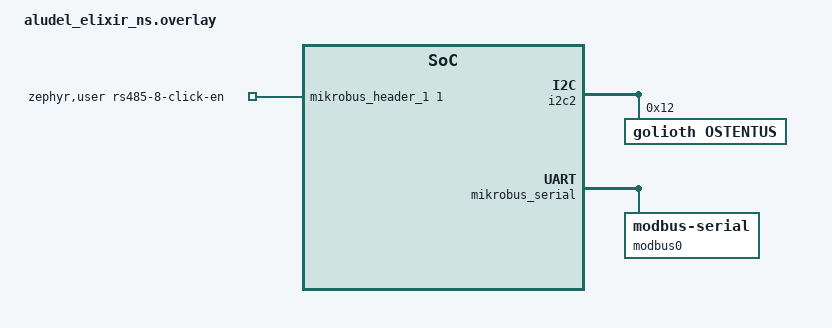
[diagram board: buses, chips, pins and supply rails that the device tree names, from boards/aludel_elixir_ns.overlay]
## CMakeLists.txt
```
# Copyright (c) 2022-2024 Golioth, Inc.
# SPDX-License-Identifier: Apache-2.0

cmake_minimum_required(VERSION 3.20.0)

if((BOARD STREQUAL nrf9160dk_nrf9160) OR (BOARD STREQUAL nrf9160dk_nrf9160_ns))
  set(SHIELD "arduino_uno_click")
endif()

find_package(Zephyr REQUIRED HINTS $ENV{ZEPHYR_BASE})

project(modbus_vibration_monitor)

target_sources(app PRIVATE src/main.c)
target_sources(app PRIVATE src/app_rpc.c)
target_sources(app PRIVATE src/app_settings.c)
target_sources(app PRIVATE src/app_state.c)
target_sources(app PRIVATE src/app_sensors.c)
target_sources(app PRIVATE src/qm30vt2.c)
```

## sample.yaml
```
# Copyright (c) 2022-2024 Golioth, Inc.
# SPDX-License-Identifier: Apache-2.0

sample:
  description: Golioth Reference Design - Modbus Vibration Monitor
  name: modbus_vibration_monitor
common:
  harness: net
  platform_allow: >
    nrf9160dk_nrf9160_ns
  tags: golioth
```

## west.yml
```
# Copyright (c) 2022-2024 Golioth, Inc.
# SPDX-License-Identifier: Apache-2.0

manifest:
  version: 1.0

  projects:
    - name: golioth
      path: modules/lib/golioth-firmware-sdk
      revision: v0.21.0
      url: https://github.com/golioth/golioth-firmware-sdk.git
      west-commands: scripts/west-commands.yml
      submodules: true
      import:
        file: west-ncs.yml
        path-prefix: deps
        name-allowlist:
          - nrf
          - zephyr
          - cmsis_6
          - hal_nordic
          - mbedtls
          - mbedtls-nrf
          - mcuboot
          - net-tools
          - nrfxlib
          - oberon-psa-crypto
          - qcbor
          - segger
          - tfm-mcuboot
          - tinycrypt
          - trusted-firmware-m
          - zcbor

    - name: golioth-zephyr-boards
      path: deps/modules/lib/golioth-boards
      revision: v2.1.1
      url: https://github.com/golioth/golioth-zephyr-boards

    - name: libostentus
      path: deps/modules/lib/libostentus
      revision: v2.0.0
      url: https://github.com/golioth/libostentus

    - name: zephyr-network-info
      path: deps/modules/lib/network-info
      revision: v1.2.0
      url: https://github.com/golioth/zephyr-network-info

    - name: golioth-battery-monitor
      path: deps/modules/lib/battery-monitor
      revision: v1.1.0
      url: https://github.com/golioth/battery-monitor

  self:
    path: app
```

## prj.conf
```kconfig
# Copyright (c) 2022-2024 Golioth, Inc.
# SPDX-License-Identifier: Apache-2.0

# Enable Golioth Firmware SDK
CONFIG_GOLIOTH_FIRMWARE_SDK=y

# Golioth services used in this app
CONFIG_GOLIOTH_FW_UPDATE=y
CONFIG_GOLIOTH_LIGHTDB_STATE=y
CONFIG_LOG_BACKEND_GOLIOTH=y
CONFIG_GOLIOTH_RPC=y
CONFIG_GOLIOTH_SETTINGS=y
CONFIG_GOLIOTH_STREAM=y

# Enable common sample library
CONFIG_GOLIOTH_SAMPLE_COMMON=y

# Configure Golioth SDK dependencies
CONFIG_ZVFS_EVENTFD_MAX=14
CONFIG_ZVFS_OPEN_MAX=23
CONFIG_LOG_PROCESS_THREAD_STACK_SIZE=1536
CONFIG_MBEDTLS_ENABLE_HEAP=y
CONFIG_MBEDTLS_HEAP_SIZE=10240
CONFIG_NETWORKING=y
CONFIG_NET_IPV4=y
CONFIG_COAP_EXTENDED_OPTIONS_LEN=y
CONFIG_COAP_EXTENDED_OPTIONS_LEN_VALUE=39

# Application
CONFIG_MAIN_STACK_SIZE=4096
CONFIG_SYSTEM_WORKQUEUE_STACK_SIZE=2048
CONFIG_NET_LOG=y
CONFIG_NET_SHELL=y
CONFIG_REBOOT=y

# Flash memory (etc.) for firmware upgrade
CONFIG_FLASH=y
CONFIG_FLASH_MAP=y
CONFIG_NVS=y
CONFIG_STREAM_FLASH=y
CONFIG_IMG_MANAGER=y
CONFIG_IMG_ERASE_PROGRESSIVELY=y
CONFIG_REBOOT=y

# The rest of the runtime credentials config
CONFIG_SETTINGS=y
CONFIG_SETTINGS_RUNTIME=y
CONFIG_GOLIOTH_SAMPLE_SETTINGS_AUTOLOAD=y
CONFIG_GOLIOTH_SAMPLE_SETTINGS_SHELL=y

# Misc.
CONFIG_JSON_LIBRARY=y

# Longer response length needed for network info
CONFIG_GOLIOTH_RPC_MAX_RESPONSE_LEN=512
CONFIG_I2C=y

CONFIG_SERIAL=y
CONFIG_UART_INTERRUPT_DRIVEN=y
CONFIG_UART_LINE_CTRL=n

CONFIG_MODBUS=y
CONFIG_MODBUS_ROLE_CLIENT=y
CONFIG_MODBUS_FP_EXTENSIONS=n

CONFIG_LOG_BUFFER_SIZE=2048
```

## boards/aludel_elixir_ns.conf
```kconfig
# Copyright (c) 2024 Golioth, Inc.
# SPDX-License-Identifier: Apache-2.0

# General config
CONFIG_ALUDEL_BATTERY_MONITOR=y

# Turn on regulator to power click headers
CONFIG_REGULATOR=y

# Use a unique package name to use with Packages/Cohorts/Deployments
CONFIG_GOLIOTH_FW_UPDATE_PACKAGE_NAME="aludel_elixir"
```

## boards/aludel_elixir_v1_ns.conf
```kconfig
# Copyright (c) 2024 Golioth, Inc.
# SPDX-License-Identifier: Apache-2.0

# General config
CONFIG_HEAP_MEM_POOL_SIZE=4096
CONFIG_NEWLIB_LIBC=y
CONFIG_CBPRINTF_FP_SUPPORT=y

# Networking
CONFIG_NET_SOCKETS_OFFLOAD=y
CONFIG_NET_IPV6=y
CONFIG_NET_IPV6_NBR_CACHE=n
CONFIG_NET_IPV6_MLD=n

# Increase native TLS socket implementation, so that it is chosen instead of
# offloaded nRF91 sockets
CONFIG_NET_SOCKETS_TLS_PRIORITY=35

# Modem library
CONFIG_NRF_MODEM_LIB=y
CONFIG_NRF_MODEM_LIB_ON_FAULT_APPLICATION_SPECIFIC=y

# LTE connectivity with network connection manager
CONFIG_LTE_CONNECTIVITY=y
CONFIG_NET_CONNECTION_MANAGER=y
CONFIG_NET_CONNECTION_MANAGER_MONITOR_STACK_SIZE=1024

# Increased sysworkq size, due to LTE connectivity
CONFIG_SYSTEM_WORKQUEUE_STACK_SIZE=2048

# Disable options y-selected by NCS for no good reason
CONFIG_MBEDTLS_KEY_EXCHANGE_DHE_PSK_ENABLED=n
CONFIG_MBEDTLS_KEY_EXCHANGE_DHE_RSA_ENABLED=n

# Add Network Info Support
CONFIG_MODEM_INFO=y
CONFIG_GOLIOTH_RPC_MAX_RESPONSE_LEN=512

# Generate MCUboot compatible images
CONFIG_BOOTLOADER_MCUBOOT=y

# Use Golioth Ostentus Faceplate
CONFIG_LIB_OSTENTUS=y
```

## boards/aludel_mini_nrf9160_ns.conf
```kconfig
# Copyright (c) 2023-2024 Golioth, Inc.
# SPDX-License-Identifier: Apache-2.0

# General config
CONFIG_HEAP_MEM_POOL_SIZE=4096
CONFIG_NEWLIB_LIBC=y
CONFIG_CBPRINTF_FP_SUPPORT=y

# Networking
CONFIG_NET_SOCKETS_OFFLOAD=y
CONFIG_NET_IPV6=y
CONFIG_NET_IPV6_NBR_CACHE=n
CONFIG_NET_IPV6_MLD=n

# Increase native TLS socket implementation, so that it is chosen instead of
# offloaded nRF91 sockets
CONFIG_NET_SOCKETS_TLS_PRIORITY=35

# Modem library
CONFIG_NRF_MODEM_LIB=y

# LTE connectivity with network connection manager
CONFIG_NRF_MODEM_LIB_NET_IF=y
CONFIG_NRF_MODEM_LIB_NET_IF_AUTO_START=y
CONFIG_NRF_MODEM_LIB_NET_IF_AUTO_CONNECT=n
CONFIG_NET_CONNECTION_MANAGER=y
CONFIG_NET_CONNECTION_MANAGER_MONITOR_STACK_SIZE=1024

# Add Logs for LTE Link Handler
CONFIG_GOLIOTH_SAMPLE_NRF91_LTE_MONITOR=y

# Disable options y-selected by NCS for no good reason
CONFIG_MBEDTLS_KEY_EXCHANGE_DHE_PSK_ENABLED=n
CONFIG_MBEDTLS_KEY_EXCHANGE_DHE_RSA_ENABLED=n

# MbedTLS configuration to support p-384 curve. These options
# enable using the MbedTLS built-in support for operations not
# supported by the default nRF Oberon crypto backend
CONFIG_NORDIC_SECURITY_BACKEND=n
CONFIG_MBEDTLS_LEGACY_CRYPTO_C=y

# Battery Support
CONFIG_ALUDEL_BATTERY_MONITOR=y

# Add Network Info Support
CONFIG_MODEM_INFO=y

# Generate MCUboot compatible images
CONFIG_BOOTLOADER_MCUBOOT=y
```

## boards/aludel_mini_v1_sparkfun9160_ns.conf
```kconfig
# Copyright (c) 2023-2024 Golioth, Inc.
# SPDX-License-Identifier: Apache-2.0

# General config
CONFIG_HEAP_MEM_POOL_SIZE=4096
CONFIG_NEWLIB_LIBC=y
CONFIG_CBPRINTF_FP_SUPPORT=y

# Networking
CONFIG_NET_SOCKETS_OFFLOAD=y
CONFIG_NET_IPV6=y
CONFIG_NET_IPV6_NBR_CACHE=n
CONFIG_NET_IPV6_MLD=n

# Increase native TLS socket implementation, so that it is chosen instead of
# offloaded nRF91 sockets
CONFIG_NET_SOCKETS_TLS_PRIORITY=35

# Modem library
CONFIG_NRF_MODEM_LIB=y
CONFIG_NRF_MODEM_LIB_ON_FAULT_APPLICATION_SPECIFIC=y

# LTE connectivity with network connection manager
CONFIG_LTE_CONNECTIVITY=y
CONFIG_LTE_CONNECTIVITY_AUTO_CONNECT=n
CONFIG_NET_CONNECTION_MANAGER=y
CONFIG_NET_CONNECTION_MANAGER_MONITOR_STACK_SIZE=1024

# Add Logs for LTE Link Handler
CONFIG_GOLIOTH_SAMPLE_NRF91_LTE_MONITOR=y

# Disable options y-selected by NCS for no good reason
CONFIG_MBEDTLS_KEY_EXCHANGE_DHE_PSK_ENABLED=n
CONFIG_MBEDTLS_KEY_EXCHANGE_DHE_RSA_ENABLED=n

# Battery Support
CONFIG_ALUDEL_BATTERY_MONITOR=y

# Add Network Info Support
CONFIG_MODEM_INFO=y

# Generate MCUboot compatible images
CONFIG_BOOTLOADER_MCUBOOT=y

# Use Golioth Ostentus Faceplate
CONFIG_LIB_OSTENTUS=y
```

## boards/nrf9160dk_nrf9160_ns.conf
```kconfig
# Copyright (c) 2023-2024 Golioth, Inc.
# SPDX-License-Identifier: Apache-2.0

# General config
CONFIG_HEAP_MEM_POOL_SIZE=4096
CONFIG_NEWLIB_LIBC=y
CONFIG_CBPRINTF_FP_SUPPORT=y

# Networking
CONFIG_NET_SOCKETS_OFFLOAD=y
CONFIG_NET_IPV6=y
CONFIG_NET_IPV6_NBR_CACHE=n
CONFIG_NET_IPV6_MLD=n

# Increase native TLS socket implementation, so that it is chosen instead of
# offloaded nRF91 sockets
CONFIG_NET_SOCKETS_TLS_PRIORITY=35

# Modem library
CONFIG_NRF_MODEM_LIB=y

# LTE connectivity with network connection manager
CONFIG_NRF_MODEM_LIB_NET_IF=y
CONFIG_NRF_MODEM_LIB_NET_IF_AUTO_START=y
CONFIG_NRF_MODEM_LIB_NET_IF_AUTO_CONNECT=n
CONFIG_NET_CONNECTION_MANAGER=y
CONFIG_NET_CONNECTION_MANAGER_MONITOR_STACK_SIZE=1024

# Add Logs for LTE Link Handler
CONFIG_GOLIOTH_SAMPLE_NRF91_LTE_MONITOR=y

# Disable options y-selected by NCS for no good reason
CONFIG_MBEDTLS_KEY_EXCHANGE_DHE_PSK_ENABLED=n
CONFIG_MBEDTLS_KEY_EXCHANGE_DHE_RSA_ENABLED=n

# MbedTLS configuration to support p-384 curve. These options
# enable using the MbedTLS built-in support for operations not
# supported by the default nRF Oberon crypto backend
CONFIG_NORDIC_SECURITY_BACKEND=n
CONFIG_MBEDTLS_LEGACY_CRYPTO_C=y

# Add Network Info Support
CONFIG_MODEM_INFO=y

# Generate MCUboot compatible images
CONFIG_BOOTLOADER_MCUBOOT=y
```

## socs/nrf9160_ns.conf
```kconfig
# General config
CONFIG_HEAP_MEM_POOL_SIZE=4096
CONFIG_NEWLIB_LIBC=y
CONFIG_CBPRINTF_FP_SUPPORT=y

# Networking
CONFIG_NET_SOCKETS_OFFLOAD=y
CONFIG_NET_IPV6=y
CONFIG_NET_IPV6_NBR_CACHE=n
CONFIG_NET_IPV6_MLD=n

# Increase native TLS socket implementation, so that it is chosen instead of
# offloaded nRF91 sockets
CONFIG_NET_SOCKETS_TLS_PRIORITY=35

# Modem library
CONFIG_NRF_MODEM_LIB=y

# LTE connectivity with network connection manager
CONFIG_NRF_MODEM_LIB_NET_IF=y
CONFIG_NRF_MODEM_LIB_NET_IF_AUTO_START=y
CONFIG_NRF_MODEM_LIB_NET_IF_AUTO_CONNECT=n
CONFIG_NET_CONNECTION_MANAGER=y
CONFIG_NET_CONNECTION_MANAGER_MONITOR_STACK_SIZE=1024

# Increased sysworkq size, due to LTE connectivity
CONFIG_SYSTEM_WORKQUEUE_STACK_SIZE=2048

# Disable options y-selected by NCS for no good reason
CONFIG_MBEDTLS_KEY_EXCHANGE_DHE_PSK_ENABLED=n
CONFIG_MBEDTLS_KEY_EXCHANGE_DHE_RSA_ENABLED=n
CONFIG_MBEDTLS_PK_PARSE_EC_EXTENDED=n

# MbedTLS configuration to support p-384 curve. These options
# enable using the MbedTLS built-in support for operations not
# supported by the default nRF Oberon crypto backend
CONFIG_NORDIC_SECURITY_BACKEND=n
CONFIG_MBEDTLS_LEGACY_CRYPTO_C=y

# Configure Golioth SDK dependencies (for NCS)
CONFIG_MBEDTLS_SSL_IN_CONTENT_LEN=2048
CONFIG_MBEDTLS_SSL_OUT_CONTENT_LEN=2048

# Generate MCUboot compatible images
CONFIG_BOOTLOADER_MCUBOOT=y

# Add Network Info Support
CONFIG_NETWORK_INFO=y
CONFIG_MODEM_INFO=y
```

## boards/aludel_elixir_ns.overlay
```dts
/*
 * Copyright (c) 2024 Golioth, Inc.
 *
 * SPDX-License-Identifier: Apache-2.0
 */

/ {
	zephyr,user {
		rs485-8-click-en-gpios = <&mikrobus_header_1 1 GPIO_ACTIVE_HIGH>;
	};
};

&i2c2 {
    status = "okay";

    /* Needed for I2C writes used by libostentus */
    zephyr,concat-buf-size = <48>;

    ostentus@12 {
        status = "okay";
        compatible = "golioth,ostentus";
        reg = <0x12>;
    };
};

&mikrobus_serial {
	status = "okay";

	modbus0 {
		compatible = "zephyr,modbus-serial";
		status = "okay";
	};
};
```

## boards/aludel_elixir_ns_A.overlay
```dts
/*
 * Copyright (c) 2024 Golioth, Inc.
 *
 * SPDX-License-Identifier: Apache-2.0
 */

&mikrobus_serial {
	status = "okay";

	modbus0 {
		compatible = "zephyr,modbus-serial";
		status = "okay";
	};
};
```

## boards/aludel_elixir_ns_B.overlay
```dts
/*
 * Copyright (c) 2024 Golioth, Inc.
 *
 * SPDX-License-Identifier: Apache-2.0
 */

/ {
	zephyr,user {
		rs485-8-click-en-gpios = <&mikrobus_header_1 1 GPIO_ACTIVE_HIGH>;
	};
};

&mikrobus_serial {
	status = "okay";

	modbus0 {
		compatible = "zephyr,modbus-serial";
		status = "okay";
	};
};

&qwiic_i2c {
	status = "okay";
};
```

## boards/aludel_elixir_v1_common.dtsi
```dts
/*
 * Copyright (c) 2023 Golioth, Inc.
 *
 * SPDX-License-Identifier: Apache-2.0
 */

#include "app_common.dtsi"

&quiic_i2c {
	status = "okay";
};
```

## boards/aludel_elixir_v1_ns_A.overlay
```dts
/*
 * Copyright (c) 2023 Golioth, Inc.
 *
 * SPDX-License-Identifier: Apache-2.0
 */

#include "aludel_elixir_v1_common.dtsi"

/* RS-485 8 Click boards have their EN signal connected to the RST signal on the
 * mikroBUS headers. However, Elixir v1 Rev A boards do not have SW (GPIO)
 * control of the RST pins on the mikroBUS headers. To ensure the EN pin is
 * pulled HIGH (enabled) for this app, a 10 KΩ resistor must be soldered onto
 * the Click board between the EN pin and the 3.3V pin.
 *
 * Since the EN pin is not used for this board rev, we need to delete the unused
 * node from the shared app_common.dtsi overlay used by all other boards.
 */
/ {
	zephyr,user {
		/delete-property/ rs485-8-click-en-gpios;
	};
};
```

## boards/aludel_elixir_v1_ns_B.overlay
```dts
/*
 * Copyright (c) 2023 Golioth, Inc.
 *
 * SPDX-License-Identifier: Apache-2.0
 */

#include "aludel_elixir_v1_common.dtsi"
```

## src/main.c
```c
/*
 * Copyright (c) 2022-2024 Golioth, Inc.
 *
 * SPDX-License-Identifier: Apache-2.0
 */

#include <zephyr/logging/log.h>
#include <zephyr/logging/log_ctrl.h>
LOG_MODULE_REGISTER(golioth_modbus_vibration_monitor, LOG_LEVEL_DBG);

#include <app_version.h>
#include "app_rpc.h"
#include "app_settings.h"
#include "app_state.h"
#include "app_sensors.h"
#include <golioth/client.h>
#include <golioth/fw_update.h>
#include <samples/common/net_connect.h>
#include <samples/common/sample_credentials.h>
#include <zephyr/kernel.h>

#ifdef CONFIG_SOC_SERIES_NRF91X
#include <modem/lte_lc.h>
#endif
#ifdef CONFIG_LIB_OSTENTUS
#include <libostentus.h>
#include <libostentus_regmap.h>
static const struct device *o_dev = DEVICE_DT_GET_ANY(golioth_ostentus);
#endif
#ifdef CONFIG_ALUDEL_BATTERY_MONITOR
#include <battery_monitor.h>
#endif

#include <zephyr/drivers/gpio.h>

#ifdef CONFIG_MODEM_INFO
#include <modem/modem_info.h>
#endif

/* Current firmware version; update in VERSION */
static const char *_current_version =
	STRINGIFY(APP_VERSION_MAJOR) "." STRINGIFY(APP_VERSION_MINOR) "." STRINGIFY(APP_PATCHLEVEL);

static struct golioth_client *client;
K_SEM_DEFINE(connected, 0, 1);

static k_tid_t _system_thread = 0;

#if DT_NODE_EXISTS(DT_ALIAS(golioth_led))
static const struct gpio_dt_spec golioth_led = GPIO_DT_SPEC_GET(DT_ALIAS(golioth_led), gpios);
#endif /* DT_NODE_EXISTS(DT_ALIAS(golioth_led)) */
static const struct gpio_dt_spec user_btn = GPIO_DT_SPEC_GET(DT_ALIAS(sw1), gpios);
static struct gpio_callback button_cb_data;

/* forward declarations */
void golioth_connection_led_set(uint8_t state);

void wake_system_thread(void)
{
	k_wakeup(_system_thread);
}

static void on_client_event(struct golioth_client *client, enum golioth_client_event event,
			    void *arg)
{
	bool is_connected = (event == GOLIOTH_CLIENT_EVENT_CONNECTED);

	if (is_connected) {
		k_sem_give(&connected);
		golioth_connection_led_set(1);
	}
	LOG_INF("Golioth client %s", is_connected ? "connected" : "disconnected");
}

static void start_golioth_client(void)
{
	/* Get the client configuration from auto-loaded settings */
	const struct golioth_client_config *client_config = golioth_sample_credentials_get();

	/* Create and start a Golioth Client */
	client = golioth_client_create(client_config);

	/* Register Golioth on_connect callback */
	golioth_client_register_event_callback(client, on_client_event, NULL);

	/* Initialize DFU components */
	golioth_fw_update_init(client, _current_version);

	/*** Call Golioth APIs for other services in dedicated app files ***/

	/* Observe State service data */
	app_state_observe(client);

	/* Set Golioth Client for streaming sensor data */
	app_sensors_set_client(client);

	/* Register Settings service */
	app_settings_register(client);

	/* Register RPC service */
	app_rpc_register(client);
}

#ifdef CONFIG_SOC_SERIES_NRF91X

static void lte_handler(const struct lte_lc_evt *const evt)
{
	if (evt->type == LTE_LC_EVT_NW_REG_STATUS) {

		if ((evt->nw_reg_status == LTE_LC_NW_REG_REGISTERED_HOME) ||
		    (evt->nw_reg_status == LTE_LC_NW_REG_REGISTERED_ROAMING)) {

			/* Change the state of the Internet LED on Ostentus */
			IF_ENABLED(CONFIG_LIB_OSTENTUS, (ostentus_led_internet_set(o_dev, 1);));

			if (!client) {
				/* Create and start a Golioth Client */
				start_golioth_client();
			}
		}
	}
}

#endif /* CONFIG_SOC_SERIES_NRF91X */

#ifdef CONFIG_MODEM_INFO
static void log_modem_firmware_version(void)
{
	char sbuf[128];

	/* Initialize modem info */
	int err = modem_info_init();

	if (err) {
		LOG_ERR("Failed to initialize modem info: %d", err);
	}

	/* Log modem firmware version */
	modem_info_string_get(MODEM_INFO_FW_VERSION, sbuf, sizeof(sbuf));
	LOG_INF("Modem firmware version: %s", sbuf);
}
#endif

void button_pressed(const struct device *dev, struct gpio_callback *cb, uint32_t pins)
{
	LOG_DBG("Button pressed at %d", k_cycle_get_32());
	/* This function is an Interrupt Service Routine. Do not call functions that
	 * use other threads, or perform long-running operations here
	 */
	k_wakeup(_system_thread);
}

/* Set (unset) LED indicators for active Golioth connection */
void golioth_connection_led_set(uint8_t state)
{
	uint8_t pin_state = state ? 1 : 0;
	ARG_UNUSED(pin_state); /* silence warning if no LED/Ostentus present */

	/* Turn on Golioth logo LED once connected */
	IF_ENABLED(DT_NODE_EXISTS(DT_ALIAS(golioth_led)),
		(gpio_pin_set_dt(&golioth_led, pin_state);));

	/* Change the state of the Golioth LED on Ostentus */
	IF_ENABLED(CONFIG_LIB_OSTENTUS, (ostentus_led_golioth_set(o_dev, pin_state);));
}

int main(void)
{
	int err;

	/* Workaround for https://github.com/golioth/golioth-firmware-sdk/issues/413 */
	log_filter_set(NULL, 0, log_source_id_get("golioth_coap_client_zephyr"), LOG_LEVEL_ERR);

	LOG_DBG("Started Modbus Vibration Monitor app");

	LOG_INF("Firmware version: %s", _current_version);
	IF_ENABLED(CONFIG_MODEM_INFO, (log_modem_firmware_version();));

	IF_ENABLED(CONFIG_LIB_OSTENTUS, (
		/* Reset Ostentus and pause for reboot */
		ostentus_reset(o_dev);
		k_msleep(300);

		/* Read firmware version from faceplate */
		char *o_version = (char *)calloc(32, sizeof(char));

		ostentus_version_get(o_dev, o_version, 32);
		LOG_INF("Ostentus reports firmware version: %s", o_version);
		free(o_version);

		/* Update Ostentus LEDS using bitmask (Power On and Battery) */
		ostentus_led_bitmask(o_dev, LED_POW | LED_BAT);

		/* Show Golioth Logo on Ostentus ePaper screen */
		ostentus_show_splash(o_dev);
	));

	/* Get system thread id so loop delay change event can wake main */
	_system_thread = k_current_get();

	/* Initialize sensors */
	app_sensors_init();

#if DT_NODE_EXISTS(DT_ALIAS(golioth_led))
	/* Initialize Golioth logo LED */
	err = gpio_pin_configure_dt(&golioth_led, GPIO_OUTPUT_INACTIVE);
	if (err) {
		LOG_ERR("Unable to configure LED for Golioth Logo");
	}
#endif /* #if DT_NODE_EXISTS(DT_ALIAS(golioth_led)) */

#ifdef CONFIG_SOC_SERIES_NRF91X
	/* Start LTE asynchronously if the nRF9160 is used.
	 * Golioth Client will start automatically when LTE connects
	 */

	LOG_INF("Connecting to LTE, this may take some time...");
	lte_lc_connect_async(lte_handler);

#else
	/* If nRF9160 is not used, start the Golioth Client and block until connected */

	/* Run WiFi/DHCP if necessary */
	if (IS_ENABLED(CONFIG_GOLIOTH_SAMPLE_COMMON)) {
		net_connect();
	}

	/* Start Golioth client */
	start_golioth_client();

	/* Block until connected to Golioth */
	k_sem_take(&connected, K_FOREVER);
#endif /* CONFIG_SOC_SERIES_NRF91X */

	/* Set up user button */
	err = gpio_pin_configure_dt(&user_btn, GPIO_INPUT);
	if (err) {
		LOG_ERR("Error %d: failed to configure %s pin %d", err, user_btn.port->name,
			user_btn.pin);
		return err;
	}

	err = gpio_pin_interrupt_configure_dt(&user_btn, GPIO_INT_EDGE_TO_ACTIVE);
	if (err) {
		LOG_ERR("Error %d: failed to configure interrupt on %s pin %d", err,
			user_btn.port->name, user_btn.pin);
		return err;
	}

	gpio_init_callback(&button_cb_data, button_pressed, BIT(user_btn.pin));
	gpio_add_callback(user_btn.port, &button_cb_data);

	IF_ENABLED(CONFIG_LIB_OSTENTUS,(
		/* Set up a slideshow on Ostentus
		 *  - add up to 256 slides
		 *  - use the enum in app_sensors.h to add new keys
		 *  - values are updated using these keys (see app_sensors.c)
		 */
		ostentus_slide_add(o_dev, TEMP_F, LABEL_TEMP, strlen(LABEL_TEMP));
		ostentus_slide_add(o_dev, TEMP_C, LABEL_TEMP, strlen(LABEL_TEMP));
		ostentus_slide_add(o_dev, Z_VEL_RMS_IN, LABEL_Z_VEL_RMS, strlen(LABEL_Z_VEL_RMS));
		ostentus_slide_add(o_dev, Z_VEL_RMS_MM, LABEL_Z_VEL_RMS, strlen(LABEL_Z_VEL_RMS));
		ostentus_slide_add(o_dev, X_VEL_RMS_IN, LABEL_X_VEL_RMS, strlen(LABEL_X_VEL_RMS));
		ostentus_slide_add(o_dev, X_VEL_RMS_MM, LABEL_X_VEL_RMS, strlen(LABEL_X_VEL_RMS));
		ostentus_slide_add(o_dev, Z_ACC_PEAK, LABEL_Z_ACC_PEAK, strlen(LABEL_Z_ACC_PEAK));
		ostentus_slide_add(o_dev, X_ACC_PEAK, LABEL_X_ACC_PEAK, strlen(LABEL_X_ACC_PEAK));
		ostentus_slide_add(o_dev, Z_VEL_FREQ, LABEL_Z_VEL_FREQ, strlen(LABEL_Z_VEL_FREQ));
		ostentus_slide_add(o_dev, X_VEL_FREQ, LABEL_X_VEL_FREQ, strlen(LABEL_X_VEL_FREQ));
		ostentus_slide_add(o_dev, Z_ACC_RMS, LABEL_Z_ACC_RMS, strlen(LABEL_Z_ACC_RMS));
		ostentus_slide_add(o_dev, X_ACC_RMS, LABEL_X_ACC_RMS, strlen(LABEL_X_ACC_RMS));
		ostentus_slide_add(o_dev, Z_ACC_KURT, LABEL_Z_ACC_KURT, strlen(LABEL_Z_ACC_KURT));
		ostentus_slide_add(o_dev, X_ACC_KURT, LABEL_X_ACC_KURT, strlen(LABEL_X_ACC_KURT));
		ostentus_slide_add(o_dev, Z_ACC_CF, LABEL_Z_ACC_CF, strlen(LABEL_Z_ACC_CF));
		ostentus_slide_add(o_dev, X_ACC_CF, LABEL_X_ACC_CF, strlen(LABEL_X_ACC_CF));
		ostentus_slide_add(o_dev, Z_VEL_PEAK_IN, LABEL_Z_VEL_PEAK, strlen(LABEL_Z_VEL_PEAK));
		ostentus_slide_add(o_dev, Z_VEL_PEAK_MM, LABEL_Z_VEL_PEAK, strlen(LABEL_Z_VEL_PEAK));
		ostentus_slide_add(o_dev, X_VEL_PEAK_IN, LABEL_X_VEL_PEAK, strlen(LABEL_X_VEL_PEAK));
		ostentus_slide_add(o_dev, X_VEL_PEAK_MM, LABEL_X_VEL_PEAK, strlen(LABEL_X_VEL_PEAK));
		ostentus_slide_add(o_dev, Z_ACC_RMS_HF, LABEL_Z_ACC_RMS_HF, strlen(LABEL_Z_ACC_RMS_HF));
		ostentus_slide_add(o_dev, X_ACC_RMS_HF, LABEL_X_ACC_RMS_HF, strlen(LABEL_X_ACC_RMS_HF));
		IF_ENABLED(CONFIG_ALUDEL_BATTERY_MONITOR, (
			ostentus_slide_add(o_dev,
					   BATTERY_V,
					   LABEL_BATTERY,
					   strlen(LABEL_BATTERY));
			ostentus_slide_add(o_dev,
					   BATTERY_PCT,
					   LABEL_BATTERY,
					   strlen(LABEL_BATTERY));
		));
		ostentus_slide_add(o_dev, FIRMWARE, LABEL_FIRMWARE, strlen(LABEL_FIRMWARE));

		/* Set the title of the Ostentus summary slide (optional) */
		ostentus_summary_title(o_dev, SUMMARY_TITLE, strlen(SUMMARY_TITLE));

		/* Update the Firmware slide with the firmware version */
		ostentus_slide_set(o_dev, FIRMWARE, (char *)_current_version,
			  strlen(_current_version));

		/* Start Ostentus slideshow with 30 second delay between slides */
		ostentus_slideshow(o_dev, 30000);
	));

	while (true) {
		app_sensors_read_and_stream();

		k_sleep(K_SECONDS(get_loop_delay_s()));
	}
}
```

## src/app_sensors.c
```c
/*
 * Copyright (c) 2022-2024 Golioth, Inc.
 *
 * SPDX-License-Identifier: Apache-2.0
 */

#include <zephyr/logging/log.h>
LOG_MODULE_REGISTER(app_sensors, LOG_LEVEL_DBG);

#include <golioth/client.h>
#include <golioth/stream.h>
#include <zcbor_encode.h>
#include <zephyr/drivers/gpio.h>
#include <zephyr/kernel.h>
#include <zephyr/modbus/modbus.h>
#include <zephyr/drivers/sensor.h>

#include "app_sensors.h"
#include "qm30vt2.h"

#ifdef CONFIG_LIB_OSTENTUS
#include <libostentus.h>
static const struct device *o_dev = DEVICE_DT_GET_ANY(golioth_ostentus);
#endif

#ifdef CONFIG_ALUDEL_BATTERY_MONITOR
#include <battery_monitor.h>
#endif

#define ZEPHYR_USER_NODE DT_PATH(zephyr_user)
#define MODBUS_NODE DT_COMPAT_GET_ANY_STATUS_OKAY(zephyr_modbus_serial)

/* Formatting string for sending sensor JSON to Golioth */
/* clang-format off */
#define JSON_FMT \
"{" \
	"\"temperature\": {" \
		"\"celcius\":%f," \
		"\"farenheight\":%f" \
	"}," \
	"\"x_axis\": {" \
		"\"acceleration\": {" \
			"\"crest_factor\":%f," \
			"\"high_frequency_rms\":%f," \
			"\"kurtosis\":%f," \
			"\"peak\":%f," \
			"\"rms\":%f" \
		"}," \
		"\"velocity\": {" \
			"\"peak\": {" \
				"\"frequency\":%f," \
				"\"in_per_sec\":%f," \
				"\"mm_per_sec\":%f" \
			"}," \
			"\"rms\": {" \
				"\"in_per_sec\":%f," \
				"\"mm_per_sec\":%f" \
			"}" \
		"}" \
	"}," \
	"\"z_axis\": {" \
		"\"acceleration\": {" \
			"\"crest_factor\":%f," \
			"\"high_frequency_rms\":%f," \
			"\"kurtosis\":%f," \
			"\"peak\":%f," \
			"\"rms\":%f" \
		"}," \
		"\"velocity\": {" \
			"\"peak\": {" \
				"\"frequency\":%f," \
				"\"in_per_sec\":%f," \
				"\"mm_per_sec\":%f" \
			"}," \
			"\"rms\": {" \
				"\"in_per_sec\":%f," \
				"\"mm_per_sec\":%f" \
			"}" \
		"}" \
	"}" \
"}"
/* clang-format on */

static struct golioth_client *client;

#if DT_NODE_HAS_PROP(ZEPHYR_USER_NODE, rs485_8_click_en_gpios)
const struct gpio_dt_spec rs485_en = GPIO_DT_SPEC_GET(ZEPHYR_USER_NODE, rs485_8_click_en_gpios);
#endif

static int client_iface;

const static struct modbus_iface_param client_param = {
	.mode = MODBUS_MODE_RTU,
	.rx_timeout = 500000,
	/* clang-format off */
	.serial = {
		.baud = 19200,
		.parity = UART_CFG_PARITY_NONE,
		.stop_bits_client = UART_CFG_STOP_BITS_1,
	},
	/* clang-format on */
};

static int init_modbus_client(void)
{
	const char iface_name[] = {DEVICE_DT_NAME(MODBUS_NODE)};

	client_iface = modbus_iface_get_by_name(iface_name);

	return modbus_init_client(client_iface, client_param);
}

void app_sensors_init(void)
{
#if DT_NODE_HAS_PROP(ZEPHYR_USER_NODE, rs485_8_click_en_gpios)
	/* Set the RS-485 transceiver EN signal */
	if (gpio_pin_configure_dt(&rs485_en, GPIO_OUTPUT_ACTIVE)) {
		LOG_ERR("RS-485 transceiver enable pin configuration failed");
	}
#endif

	if (init_modbus_client()) {
		LOG_ERR("Modbus RTU client initialization failed");
	}
}

/* Callback for LightDB Stream */
static void async_error_handler(struct golioth_client *client, enum golioth_status status,
				const struct golioth_coap_rsp_code *coap_rsp_code, const char *path,
				void *arg)
{
	if (status != GOLIOTH_OK) {
		LOG_ERR("Async task failed: %d", status);
		return;
	}
}

/* This will be called by the main() loop */
/* Do all of your work here! */
void app_sensors_read_and_stream(void)
{
	int err;
	char json_buf[1024];
	static uint8_t qm30vt2_unit_id = 1;
	struct qm30vt2_measurement meas = {0};

	/* Golioth custom hardware for demos */
	IF_ENABLED(CONFIG_ALUDEL_BATTERY_MONITOR, (
		read_and_report_battery(client);
		IF_ENABLED(CONFIG_LIB_OSTENTUS, (
			ostentus_slide_set(o_dev,
					   BATTERY_V,
					   get_batt_v_str(),
					   strlen(get_batt_v_str()));
			ostentus_slide_set(o_dev,
					   BATTERY_PCT,
					   get_batt_pct_str(),
					   strlen(get_batt_pct_str()));
		));
	));

	LOG_INF("Reading temperature & vibration data from QM30VT2 sensor");

	err = qm30vt2_read_data(client_iface, qm30vt2_unit_id, &meas);
	if (err) {
		LOG_ERR("Failed to read QM30VT2 sensor values: %d", err);
		return;
	}

	qm30vt2_log_measurements(&meas);

	/* Send sensor data to Golioth */
	if (golioth_client_is_connected(client)) {
		/* clang-format off */
		snprintk(json_buf, sizeof(json_buf), JSON_FMT,
			/* Temperature */
			sensor_value_to_double(&meas.temp_c),
			sensor_value_to_double(&meas.temp_f),

			/* X-Axis Vibration */
			sensor_value_to_double(&meas.x_acc_cf),
			sensor_value_to_double(&meas.x_acc_rms_hf),
			sensor_value_to_double(&meas.x_acc_kurt),
			sensor_value_to_double(&meas.x_acc_peak),
			sensor_value_to_double(&meas.x_acc_rms),
			sensor_value_to_double(&meas.x_vel_peak_freq),
			sensor_value_to_double(&meas.x_vel_peak_in),
			sensor_value_to_double(&meas.x_vel_peak_mm),
			sensor_value_to_double(&meas.x_vel_rms_in),
			sensor_value_to_double(&meas.x_vel_rms_mm),

			/* Z-Axis Vibration */
			sensor_value_to_double(&meas.z_acc_cf),
			sensor_value_to_double(&meas.z_acc_rms_hf),
			sensor_value_to_double(&meas.z_acc_kurt),
			sensor_value_to_double(&meas.z_acc_peak),
			sensor_value_to_double(&meas.z_acc_rms),
			sensor_value_to_double(&meas.z_vel_peak_freq),
			sensor_value_to_double(&meas.z_vel_peak_in),
			sensor_value_to_double(&meas.z_vel_peak_mm),
			sensor_value_to_double(&meas.z_vel_rms_in),
			sensor_value_to_double(&meas.z_vel_rms_mm)
		);
		/* clang-format on */

		/* LOG_DBG("%s", json_buf); */

		err = golioth_stream_set_async(client,
					"sensor",
					GOLIOTH_CONTENT_TYPE_JSON,
					json_buf,
					strlen(json_buf),
					async_error_handler,
					NULL);
		if (err) {
			LOG_ERR("Failed to send sensor data to Golioth: %d", err);
		}
	} else {
		LOG_WRN("Device is not connected to Golioth, unable to send sensor data");
	}

	/* Golioth custom hardware for demos */
	IF_ENABLED(CONFIG_LIB_OSTENTUS, (
		/* Update slide values on Ostentus
		 *  -values should be sent as strings
		 *  -use the enum from app_sensors.h for slide key values
		 */
		snprintk(json_buf, sizeof(json_buf), "%.2f F",
			 sensor_value_to_double(&meas.temp_f));
		ostentus_slide_set(o_dev, TEMP_F, json_buf, strlen(json_buf));

		snprintk(json_buf, sizeof(json_buf), "%.2f C",
			 sensor_value_to_double(&meas.temp_c));
		ostentus_slide_set(o_dev, TEMP_C, json_buf, strlen(json_buf));

		snprintk(json_buf, sizeof(json_buf), "%.4f in/sec",
			 sensor_value_to_double(&meas.z_vel_rms_in));
		ostentus_slide_set(o_dev, Z_VEL_RMS_IN, json_buf, strlen(json_buf));

		snprintk(json_buf, sizeof(json_buf), "%.3f mm/sec",
			 sensor_value_to_double(&meas.z_vel_rms_mm));
		ostentus_slide_set(o_dev, Z_VEL_RMS_MM, json_buf, strlen(json_buf));

		snprintk(json_buf, sizeof(json_buf), "%.4f in/sec",
			 sensor_value_to_double(&meas.x_vel_rms_in));
		ostentus_slide_set(o_dev, X_VEL_RMS_IN, json_buf, strlen(json_buf));

		snprintk(json_buf, sizeof(json_buf), "%.3f mm/sec",
			 sensor_value_to_double(&meas.x_vel_rms_mm));
		ostentus_slide_set(o_dev, X_VEL_RMS_MM, json_buf, strlen(json_buf));

		snprintk(json_buf, sizeof(json_buf), "%.3f G",
			 sensor_value_to_double(&meas.z_acc_peak));
		ostentus_slide_set(o_dev, Z_ACC_PEAK, json_buf, strlen(json_buf));

		snprintk(json_buf, sizeof(json_buf), "%.3f G",
			 sensor_value_to_double(&meas.x_acc_peak));
		ostentus_slide_set(o_dev, X_ACC_PEAK, json_buf, strlen(json_buf));

		snprintk(json_buf, sizeof(json_buf), "%.1f Hz",
			 sensor_value_to_double(&meas.z_vel_peak_freq));
		ostentus_slide_set(o_dev, Z_VEL_FREQ, json_buf, strlen(json_buf));

		snprintk(json_buf, sizeof(json_buf), "%.1f Hz",
			 sensor_value_to_double(&meas.x_vel_peak_freq));
		ostentus_slide_set(o_dev, X_VEL_FREQ, json_buf, strlen(json_buf));

		snprintk(json_buf, sizeof(json_buf), "%.3f G",
			 sensor_value_to_double(&meas.z_acc_rms));
		ostentus_slide_set(o_dev, Z_ACC_RMS, json_buf, strlen(json_buf));

		snprintk(json_buf, sizeof(json_buf), "%.3f G",
			 sensor_value_to_double(&meas.x_acc_rms));
		ostentus_slide_set(o_dev, X_ACC_RMS, json_buf, strlen(json_buf));

		snprintk(json_buf, sizeof(json_buf), "%.3f",
			 sensor_value_to_double(&meas.z_acc_kurt));
		ostentus_slide_set(o_dev, Z_ACC_KURT, json_buf, strlen(json_buf));

		snprintk(json_buf, sizeof(json_buf), "%.3f",
			 sensor_value_to_double(&meas.x_acc_kurt));
		ostentus_slide_set(o_dev, X_ACC_KURT, json_buf, strlen(json_buf));

		snprintk(json_buf, sizeof(json_buf), "%.3f",
			 sensor_value_to_double(&meas.z_acc_cf));
		ostentus_slide_set(o_dev, Z_ACC_CF, json_buf, strlen(json_buf));

		snprintk(json_buf, sizeof(json_buf), "%.3f",
			 sensor_value_to_double(&meas.x_acc_cf));
		ostentus_slide_set(o_dev, X_ACC_CF, json_buf, strlen(json_buf));

		snprintk(json_buf, sizeof(json_buf), "%.4f in/sec",
			 sensor_value_to_double(&meas.z_vel_peak_in));
		ostentus_slide_set(o_dev, Z_VEL_PEAK_IN, json_buf, strlen(json_buf));

		snprintk(json_buf, sizeof(json_buf), "%.3f mm/sec",
			 sensor_value_to_double(&meas.z_vel_peak_mm));
		ostentus_slide_set(o_dev, Z_VEL_PEAK_MM, json_buf, strlen(json_buf));

		snprintk(json_buf, sizeof(json_buf), "%.4f in/sec",
			 sensor_value_to_double(&meas.x_vel_peak_in));
		ostentus_slide_set(o_dev, X_VEL_PEAK_IN, json_buf, strlen(json_buf));

		snprintk(json_buf, sizeof(json_buf), "%.3f mm/sec",
			 sensor_value_to_double(&meas.x_vel_peak_mm));
		ostentus_slide_set(o_dev, X_VEL_PEAK_MM, json_buf, strlen(json_buf));

		snprintk(json_buf, sizeof(json_buf), "%.3f G",
			 sensor_value_to_double(&meas.z_acc_rms_hf));
		ostentus_slide_set(o_dev, Z_ACC_RMS_HF, json_buf, strlen(json_buf));

		snprintk(json_buf, sizeof(json_buf), "%.3f G",
			 sensor_value_to_double(&meas.x_acc_rms_hf));
		ostentus_slide_set(o_dev, X_ACC_RMS_HF, json_buf, strlen(json_buf));
	));
}

void app_sensors_set_client(struct golioth_client *sensors_client)
{
	client = sensors_client;
}
```

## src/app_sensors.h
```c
/*
 * Copyright (c) 2022-2024 Golioth, Inc.
 *
 * SPDX-License-Identifier: Apache-2.0
 */

#ifndef __APP_SENSORS_H__
#define __APP_SENSORS_H__

/** The `app_sensors.c` file performs the important work of this application
 * which is to read sensor values and report them to the Golioth LightDB Stream
 * as time-series data.
 *
 * https://docs.golioth.io/firmware/zephyr-device-sdk/light-db-stream/
 */

#include <golioth/client.h>

void app_sensors_init(void);
void app_sensors_set_client(struct golioth_client *sensors_client);
void app_sensors_read_and_stream(void);

#define LABEL_TEMP	   "Temperature"
#define LABEL_Z_VEL_RMS	   "Z RMS V"
#define LABEL_X_VEL_RMS	   "X RMS V"
#define LABEL_Z_ACC_PEAK   "Z Peak A"
#define LABEL_X_ACC_PEAK   "X Peak A"
#define LABEL_Z_VEL_FREQ   "Z Peak F"
#define LABEL_X_VEL_FREQ   "X Peak F"
#define LABEL_Z_ACC_RMS	   "Z RMS A"
#define LABEL_X_ACC_RMS	   "X RMS A"
#define LABEL_Z_ACC_KURT   "Z Kurt"
#define LABEL_X_ACC_KURT   "X Kurt"
#define LABEL_Z_ACC_CF	   "Z CF"
#define LABEL_X_ACC_CF	   "X CF"
#define LABEL_Z_VEL_PEAK   "Z Peak Vel"
#define LABEL_X_VEL_PEAK   "X Peak Vel"
#define LABEL_Z_ACC_RMS_HF "Z RMS HF A"
#define LABEL_X_ACC_RMS_HF "X RMS HF A"
#define LABEL_BATTERY	   "Battery"
#define LABEL_FIRMWARE	   "Firmware"
#define SUMMARY_TITLE	   "Modbus RD"

/**
 * Each Ostentus slide needs a unique key. You may add additional slides by
 * inserting elements with the name of your choice to this enum.
 */
typedef enum {
	TEMP_F,
	TEMP_C,
	Z_VEL_RMS_IN,
	Z_VEL_RMS_MM,
	X_VEL_RMS_IN,
	X_VEL_RMS_MM,
	Z_ACC_PEAK,
	X_ACC_PEAK,
	Z_VEL_FREQ,
	X_VEL_FREQ,
	Z_ACC_RMS,
	X_ACC_RMS,
	Z_ACC_KURT,
	X_ACC_KURT,
	Z_ACC_CF,
	X_ACC_CF,
	Z_VEL_PEAK_IN,
	Z_VEL_PEAK_MM,
	X_VEL_PEAK_IN,
	X_VEL_PEAK_MM,
	Z_ACC_RMS_HF,
	X_ACC_RMS_HF,
#ifdef CONFIG_ALUDEL_BATTERY_MONITOR
	BATTERY_V,
	BATTERY_PCT,
#endif
	FIRMWARE
} slide_key;

#endif /* __APP_SENSORS_H__ */
```

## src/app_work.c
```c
/*
 * Copyright (c) 2022-2024 Golioth, Inc.
 *
 * SPDX-License-Identifier: Apache-2.0
 */

#include <zephyr/logging/log.h>
LOG_MODULE_REGISTER(app_work, LOG_LEVEL_DBG);

#include <net/golioth/system_client.h>
#include <zephyr/drivers/gpio.h>
#include <zephyr/modbus/modbus.h>
#include <zephyr/drivers/sensor.h>

#include "app_work.h"
#include "qm30vt2.h"

#ifdef CONFIG_LIB_OSTENTUS
#include <libostentus.h>
#endif

#ifdef CONFIG_ALUDEL_BATTERY_MONITOR
#include "battery_monitor/battery.h"
#endif

#define ZEPHYR_USER_NODE DT_PATH(zephyr_user)
#define MODBUS_NODE DT_COMPAT_GET_ANY_STATUS_OKAY(zephyr_modbus_serial)

/* Formatting string for sending sensor JSON to Golioth */
/* clang-format off */
#define JSON_FMT \
"{" \
	"\"temperature\": {" \
		"\"celcius\":%f," \
		"\"farenheight\":%f" \
	"}," \
	"\"x_axis\": {" \
		"\"acceleration\": {" \
			"\"crest_factor\":%f," \
			"\"high_frequency_rms\":%f," \
			"\"kurtosis\":%f," \
			"\"peak\":%f," \
			"\"rms\":%f" \
		"}," \
		"\"velocity\": {" \
			"\"peak\": {" \
				"\"frequency\":%f," \
				"\"in_per_sec\":%f," \
				"\"mm_per_sec\":%f" \
			"}," \
			"\"rms\": {" \
				"\"in_per_sec\":%f," \
				"\"mm_per_sec\":%f" \
			"}" \
		"}" \
	"}," \
	"\"z_axis\": {" \
		"\"acceleration\": {" \
			"\"crest_factor\":%f," \
			"\"high_frequency_rms\":%f," \
			"\"kurtosis\":%f," \
			"\"peak\":%f," \
			"\"rms\":%f" \
		"}," \
		"\"velocity\": {" \
			"\"peak\": {" \
				"\"frequency\":%f," \
				"\"in_per_sec\":%f," \
				"\"mm_per_sec\":%f" \
			"}," \
			"\"rms\": {" \
				"\"in_per_sec\":%f," \
				"\"mm_per_sec\":%f" \
			"}" \
		"}" \
	"}" \
"}"
/* clang-format on */

static struct golioth_client *client;

#if DT_NODE_HAS_PROP(ZEPHYR_USER_NODE, rs485_8_click_en_gpios)
const struct gpio_dt_spec rs485_en = GPIO_DT_SPEC_GET(ZEPHYR_USER_NODE, rs485_8_click_en_gpios);
#endif

static int client_iface;

const static struct modbus_iface_param client_param = {
	.mode = MODBUS_MODE_RTU,
	.rx_timeout = 500000,
	/* clang-format off */
	.serial = {
		.baud = 19200,
		.parity = UART_CFG_PARITY_NONE,
		.stop_bits_client = UART_CFG_STOP_BITS_1,
	},
	/* clang-format on */
};

static int init_modbus_client(void)
{
	const char iface_name[] = {DEVICE_DT_NAME(MODBUS_NODE)};

	client_iface = modbus_iface_get_by_name(iface_name);

	return modbus_init_client(client_iface, client_param);
}

/* Callback for LightDB Stream */
static int async_error_handler(struct golioth_req_rsp *rsp)
{
	if (rsp->err) {
		LOG_ERR("Async task failed: %d", rsp->err);
		return rsp->err;
	}
	return 0;
}

/* This will be called by the main() loop */
/* Do all of your work here! */
void app_work_sensor_read(void)
{
	int err;
	char json_buf[1024];
	static uint8_t qm30vt2_unit_id = 1;
	struct qm30vt2_measurement meas = {0};

	IF_ENABLED(CONFIG_ALUDEL_BATTERY_MONITOR, (
		read_and_report_battery();
		IF_ENABLED(CONFIG_LIB_OSTENTUS, (
			slide_set(BATTERY_V, get_batt_v_str(), strlen(get_batt_v_str()));
			slide_set(BATTERY_LVL, get_batt_lvl_str(),
					     strlen(get_batt_lvl_str()));
		));
	));

	LOG_INF("Reading temperature & vibration data from QM30VT2 sensor");

	err = qm30vt2_read_data(client_iface, qm30vt2_unit_id, &meas);
	if (err) {
		LOG_ERR("Failed to read QM30VT2 sensor values: %d", err);
		return;
	}

	/* Log Z-Axis measurements */
	LOG_DBG("QM30VT2: Temperature=%.2f °F", sensor_value_to_double(&meas.temp_f));
	LOG_DBG("QM30VT2: Temperature=%.2f °C", sensor_value_to_double(&meas.temp_c));
	LOG_DBG("QM30VT2: Z-Axis RMS Velocity=%.4f in/sec",
		sensor_value_to_double(&meas.z_vel_rms_in));
	LOG_DBG("QM30VT2: Z-Axis Peak Velocity=%.4f in/sec",
		sensor_value_to_double(&meas.z_vel_peak_in));
	LOG_DBG("QM30VT2: Z-Axis RMS Velocity=%.3f mm/sec",
		sensor_value_to_double(&meas.z_vel_rms_mm));
	LOG_DBG("QM30VT2: Z-Axis Peak Velocity=%.3f mm/sec",
		sensor_value_to_double(&meas.z_vel_peak_mm));
	LOG_DBG("QM30VT2: Z-Axis Peak Velocity Component Frequency=%.1f Hz",
		sensor_value_to_double(&meas.z_vel_peak_freq));
	LOG_DBG("QM30VT2: Z-Axis RMS Acceleration=%.3f G", sensor_value_to_double(&meas.z_acc_rms));
	LOG_DBG("QM30VT2: Z-Axis Peak Acceleration=%.3f G",
		sensor_value_to_double(&meas.z_acc_peak));
	LOG_DBG("QM30VT2: Z-Axis Crest Factor=%.3f", sensor_value_to_double(&meas.z_acc_cf));
	LOG_DBG("QM30VT2: Z-Axis Kurtosis=%.3f", sensor_value_to_double(&meas.z_acc_kurt));
	LOG_DBG("QM30VT2: Z-Axis High-Frequency RMS Acceleration=%.3f G",
		sensor_value_to_double(&meas.z_acc_rms_hf));

	/* Log X-Axis measurements */
	LOG_DBG("QM30VT2: X-Axis RMS Velocity=%.4f in/sec",
		sensor_value_to_double(&meas.x_vel_rms_in));
	LOG_DBG("QM30VT2: X-Axis Peak Velocity=%.4f in/sec",
		sensor_value_to_double(&meas.x_vel_peak_in));
	LOG_DBG("QM30VT2: X-Axis RMS Velocity=%.3f mm/sec",
		sensor_value_to_double(&meas.x_vel_rms_mm));
	LOG_DBG("QM30VT2: X-Axis Peak Velocity=%.3f mm/sec",
		sensor_value_to_double(&meas.x_vel_peak_mm));
	LOG_DBG("QM30VT2: X-Axis Peak Velocity Component Frequency=%.1f Hz",
		sensor_value_to_double(&meas.x_vel_peak_freq));
	LOG_DBG("QM30VT2: X-Axis RMS Acceleration=%.3f G", sensor_value_to_double(&meas.x_acc_rms));
	LOG_DBG("QM30VT2: X-Axis Peak Acceleration=%.3f G",
		sensor_value_to_double(&meas.x_acc_peak));
	LOG_DBG("QM30VT2: X-Axis Crest Factor=%.3f", sensor_value_to_double(&meas.x_acc_cf));
	LOG_DBG("QM30VT2: X-Axis Kurtosis=%.3f", sensor_value_to_double(&meas.x_acc_kurt));
	LOG_DBG("QM30VT2: X-Axis High-Frequency RMS Acceleration=%.3f G",
		sensor_value_to_double(&meas.x_acc_rms_hf));

	/* Send sensor data to Golioth */
	/* clang-format off */
	snprintk(json_buf, sizeof(json_buf), JSON_FMT,
		/* Temperature */
		sensor_value_to_double(&meas.temp_c),
		sensor_value_to_double(&meas.temp_f),

		/* X-Axis Vibration */
		sensor_value_to_double(&meas.x_acc_cf),
		sensor_value_to_double(&meas.x_acc_rms_hf),
		sensor_value_to_double(&meas.x_acc_kurt),
		sensor_value_to_double(&meas.x_acc_peak),
		sensor_value_to_double(&meas.x_acc_rms),
		sensor_value_to_double(&meas.x_vel_peak_freq),
		sensor_value_to_double(&meas.x_vel_peak_in),
		sensor_value_to_double(&meas.x_vel_peak_mm),
		sensor_value_to_double(&meas.x_vel_rms_in),
		sensor_value_to_double(&meas.x_vel_rms_mm),

		/* Z-Axis Vibration */
		sensor_value_to_double(&meas.z_acc_cf),
		sensor_value_to_double(&meas.z_acc_rms_hf),
		sensor_value_to_double(&meas.z_acc_kurt),
		sensor_value_to_double(&meas.z_acc_peak),
		sensor_value_to_double(&meas.z_acc_rms),
		sensor_value_to_double(&meas.z_vel_peak_freq),
		sensor_value_to_double(&meas.z_vel_peak_in),
		sensor_value_to_double(&meas.z_vel_peak_mm),
		sensor_value_to_double(&meas.z_vel_rms_in),
		sensor_value_to_double(&meas.z_vel_rms_mm)
	);
	/* clang-format on */

	LOG_DBG("%s", json_buf);

	err = golioth_stream_push_cb(client, "sensor", GOLIOTH_CONTENT_FORMAT_APP_JSON, json_buf,
				     strlen(json_buf), async_error_handler, NULL);
	if (err) {
		LOG_ERR("Failed to send sensor data to Golioth: %d", err);
	}

	IF_ENABLED(CONFIG_LIB_OSTENTUS, (
		/* Update slide values on Ostentus
		 *  -values should be sent as strings
		 *  -use the enum from app_work.h for slide key values
		 */
		snprintk(json_buf, sizeof(json_buf), "%.2f F",
			 sensor_value_to_double(&meas.temp_f));
		slide_set(TEMP_F, json_buf, strlen(json_buf));

		snprintk(json_buf, sizeof(json_buf), "%.2f C",
			 sensor_value_to_double(&meas.temp_c));
		slide_set(TEMP_C, json_buf, strlen(json_buf));

		snprintk(json_buf, sizeof(json_buf), "%.4f in/sec",
			 sensor_value_to_double(&meas.z_vel_rms_in));
		slide_set(Z_VEL_RMS_IN, json_buf, strlen(json_buf));

		snprintk(json_buf, sizeof(json_buf), "%.3f mm/sec",
			 sensor_value_to_double(&meas.z_vel_rms_mm));
		slide_set(Z_VEL_RMS_MM, json_buf, strlen(json_buf));

		snprintk(json_buf, sizeof(json_buf), "%.4f in/sec",
			 sensor_value_to_double(&meas.x_vel_rms_in));
		slide_set(X_VEL_RMS_IN, json_buf, strlen(json_buf));

		snprintk(json_buf, sizeof(json_buf), "%.3f mm/sec",
			 sensor_value_to_double(&meas.x_vel_rms_mm));
		slide_set(X_VEL_RMS_MM, json_buf, strlen(json_buf));

		snprintk(json_buf, sizeof(json_buf), "%.3f G",
			 sensor_value_to_double(&meas.z_acc_peak));
		slide_set(Z_ACC_PEAK, json_buf, strlen(json_buf));

		snprintk(json_buf, sizeof(json_buf), "%.3f G",
			 sensor_value_to_double(&meas.x_acc_peak));
		slide_set(X_ACC_PEAK, json_buf, strlen(json_buf));

		snprintk(json_buf, sizeof(json_buf), "%.1f Hz",
			 sensor_value_to_double(&meas.z_vel_peak_freq));
		slide_set(Z_VEL_FREQ, json_buf, strlen(json_buf));

		snprintk(json_buf, sizeof(json_buf), "%.1f Hz",
			 sensor_value_to_double(&meas.x_vel_peak_freq));
		slide_set(X_VEL_FREQ, json_buf, strlen(json_buf));

		snprintk(json_buf, sizeof(json_buf), "%.3f G",
			 sensor_value_to_double(&meas.z_acc_rms));
		slide_set(Z_ACC_RMS, json_buf, strlen(json_buf));

		snprintk(json_buf, sizeof(json_buf), "%.3f G",
			 sensor_value_to_double(&meas.x_acc_rms));
		slide_set(X_ACC_RMS, json_buf, strlen(json_buf));

		snprintk(json_buf, sizeof(json_buf), "%.3f",
			 sensor_value_to_double(&meas.z_acc_kurt));
		slide_set(Z_ACC_KURT, json_buf, strlen(json_buf));

		snprintk(json_buf, sizeof(json_buf), "%.3f",
			 sensor_value_to_double(&meas.x_acc_kurt));
		slide_set(X_ACC_KURT, json_buf, strlen(json_buf));

		snprintk(json_buf, sizeof(json_buf), "%.3f",
			 sensor_value_to_double(&meas.z_acc_cf));
		slide_set(Z_ACC_CF, json_buf, strlen(json_buf));

		snprintk(json_buf, sizeof(json_buf), "%.3f",
			 sensor_value_to_double(&meas.x_acc_cf));
		slide_set(X_ACC_CF, json_buf, strlen(json_buf));

		snprintk(json_buf, sizeof(json_buf), "%.4f in/sec",
			 sensor_value_to_double(&meas.z_vel_peak_in));
		slide_set(Z_VEL_PEAK_IN, json_buf, strlen(json_buf));

		snprintk(json_buf, sizeof(json_buf), "%.3f mm/sec",
			 sensor_value_to_double(&meas.z_vel_peak_mm));
		slide_set(Z_VEL_PEAK_MM, json_buf, strlen(json_buf));

		snprintk(json_buf, sizeof(json_buf), "%.4f in/sec",
			 sensor_value_to_double(&meas.x_vel_peak_in));
		slide_set(X_VEL_PEAK_IN, json_buf, strlen(json_buf));

		snprintk(json_buf, sizeof(json_buf), "%.3f mm/sec",
			 sensor_value_to_double(&meas.x_vel_peak_mm));
		slide_set(X_VEL_PEAK_MM, json_buf, strlen(json_buf));

		snprintk(json_buf, sizeof(json_buf), "%.3f G",
			 sensor_value_to_double(&meas.z_acc_rms_hf));
		slide_set(Z_ACC_RMS_HF, json_buf, strlen(json_buf));

		snprintk(json_buf, sizeof(json_buf), "%.3f G",
			 sensor_value_to_double(&meas.x_acc_rms_hf));
		slide_set(X_ACC_RMS_HF, json_buf, strlen(json_buf));
	));
}

void app_work_init(struct golioth_client *work_client)
{
	client = work_client;

#if DT_NODE_HAS_PROP(ZEPHYR_USER_NODE, rs485_8_click_en_gpios)
	/* Set the RS485 8 Click board EN signal */
	gpio_pin_configure_dt(&rs485_en, GPIO_OUTPUT_ACTIVE);
#endif

	if (init_modbus_client()) {
		LOG_ERR("Modbus RTU client initialization failed");
	}
}
```

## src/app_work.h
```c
/*
 * Copyright (c) 2022-2024 Golioth, Inc.
 *
 * SPDX-License-Identifier: Apache-2.0
 */

#ifndef __APP_WORK_H__
#define __APP_WORK_H__

/** The `app_work.c` file performs the important work of this application which
 * is to read sensor values and report them to the Golioth LightDB Stream as
 * time-series data.
 *
 * https://docs.golioth.io/firmware/zephyr-device-sdk/light-db-stream/
 */

#include <net/golioth/system_client.h>

void app_work_init(struct golioth_client *work_client);
void app_work_sensor_read(void);

#define LABEL_TEMP	   "Temperature"
#define LABEL_Z_VEL_RMS	   "Z RMS V"
#define LABEL_X_VEL_RMS	   "X RMS V"
#define LABEL_Z_ACC_PEAK   "Z Peak A"
#define LABEL_X_ACC_PEAK   "X Peak A"
#define LABEL_Z_VEL_FREQ   "Z Peak F"
#define LABEL_X_VEL_FREQ   "X Peak F"
#define LABEL_Z_ACC_RMS	   "Z RMS A"
#define LABEL_X_ACC_RMS	   "X RMS A"
#define LABEL_Z_ACC_KURT   "Z Kurt"
#define LABEL_X_ACC_KURT   "X Kurt"
#define LABEL_Z_ACC_CF	   "Z CF"
#define LABEL_X_ACC_CF	   "X CF"
#define LABEL_Z_VEL_PEAK   "Z Peak Vel"
#define LABEL_X_VEL_PEAK   "X Peak Vel"
#define LABEL_Z_ACC_RMS_HF "Z RMS HF A"
#define LABEL_X_ACC_RMS_HF "X RMS HF A"
#define LABEL_BATTERY	   "Battery"
#define LABEL_FIRMWARE	   "Firmware"
#define SUMMARY_TITLE	   "Modbus RD"

/**
 * Each Ostentus slide needs a unique key. You may add additional slides by
 * inserting elements with the name of your choice to this enum.
 */
typedef enum {
	TEMP_F,
	TEMP_C,
	Z_VEL_RMS_IN,
	Z_VEL_RMS_MM,
	X_VEL_RMS_IN,
	X_VEL_RMS_MM,
	Z_ACC_PEAK,
	X_ACC_PEAK,
	Z_VEL_FREQ,
	X_VEL_FREQ,
	Z_ACC_RMS,
	X_ACC_RMS,
	Z_ACC_KURT,
	X_ACC_KURT,
	Z_ACC_CF,
	X_ACC_CF,
	Z_VEL_PEAK_IN,
	Z_VEL_PEAK_MM,
	X_VEL_PEAK_IN,
	X_VEL_PEAK_MM,
	Z_ACC_RMS_HF,
	X_ACC_RMS_HF,
#ifdef CONFIG_ALUDEL_BATTERY_MONITOR
	BATTERY_V,
	BATTERY_LVL,
#endif
	FIRMWARE
} slide_key;

#endif /* __APP_WORK_H__ */
```

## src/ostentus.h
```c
/*
 * Copyright (c) 2024 Golioth, Inc.
 *
 * SPDX-License-Identifier: Apache-2.0
 */

#ifndef __OSTENTUS_H__
#define __OSTENTUS_H__

#define OSTENTUS_READY_POLL_INTERVAL K_MSEC(50)
#define OSTENTUS_READY_TIMEOUT	     K_MSEC(1000)

int ostentus_i2c_readbyte(uint8_t reg, uint8_t *value);
int ostentus_i2c_readarray(uint8_t reg, uint8_t *read_reg, uint8_t read_len);
bool ostentus_ready(k_timeout_t poll_interval, k_timeout_t timeout);
int ostentus_clear_memory(void);
int ostentus_show_splash(void);
int ostentus_update_display(void);
int ostentus_update_thickness(uint8_t thickness);
int ostentus_update_font(uint8_t font);
int ostentus_clear_text_buffer(void);
int ostentus_clear_rectangle(uint8_t x, uint8_t y, uint8_t w, uint8_t h);
int ostentus_slide_add(uint8_t id, char *str, uint8_t len);
int ostentus_slide_set(uint8_t id, char *str, uint8_t len);
int ostentus_summary_title(char *str, uint8_t len);
int ostentus_slideshow(uint32_t setting);
int ostentus_store_text(char *str, uint8_t len);
int ostentus_write_text(uint8_t x, uint8_t y, uint8_t thickness);
int ostentus_version(char *buf, uint8_t buf_len);
int ostentus_fifo_ready(uint8_t *slots_remaining);
int ostentus_reset(void);
int ostentus_led_bitmask(uint8_t bitmask);
int ostentus_led_power_set(uint8_t state);
int ostentus_led_battery_set(uint8_t state);
int ostentus_led_internet_set(uint8_t state);
int ostentus_led_golioth_set(uint8_t state);
int ostentus_led_user_set(uint8_t state);

int ostentus_init(void);

#endif /* __OSTENTUS_H__ */
```
